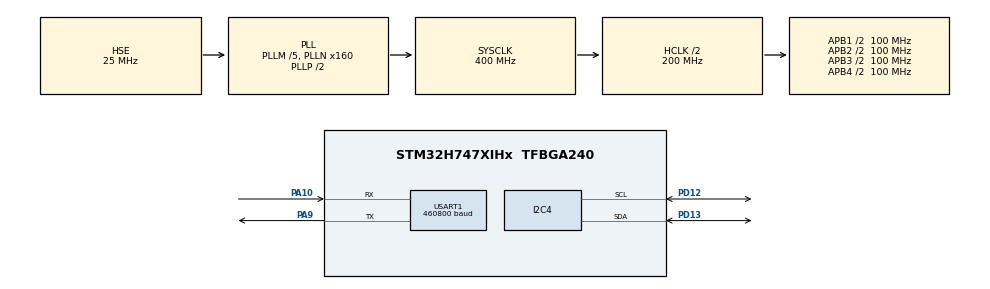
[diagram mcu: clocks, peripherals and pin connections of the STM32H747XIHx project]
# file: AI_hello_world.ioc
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CORTEX_M7.CPU_DCache=Enabled
CORTEX_M7.CPU_ICache=Enabled
CortexM4.IPs=BDMA,DMA,FATFS_M4\:I,FREERTOS_M4\:I,IWDG2\:I,MDMA,NVIC2\:I,RCC,USB_DEVICE_M4\:I,USB_HOST_M4\:I,WWDG2\:I,PDM2PCM_M4\:I,PWR,RESMGR_UTILITY,SYS_M4\:I,CORTEX_M4\:I,OPENAMP_M4\:I,VREFBUF,GPIO
CortexM7.IPs=BDMA\:I,DMA\:I,FATFS_M7\:I,FREERTOS_M7\:I,IWDG1\:I,MDMA\:I,NVIC1\:I,RCC\:I,USB_DEVICE_M7\:I,USB_HOST_M7\:I,WWDG1\:I,USART1\:I,CORTEX_M7\:I,PDM2PCM_M7\:I,PWR\:I,RESMGR_UTILITY\:I,SYS\:I,OPENAMP_M7\:I,VREFBUF\:I,GPIO\:I,MEMORYMAP\:I,I2C4\:I
I2C4.Timing=0x10C0ECFF
Mcu.Family=STM32H7
Mcu.Name=STM32H747XIHx
Mcu.Package=TFBGA240
NVIC1.PriorityGroup=NVIC_PRIORITYGROUP_4
NVIC1.USART1_IRQn=true\:0\:0\:false\:false\:true\:true\:true\:true
NVIC2.PriorityGroup=NVIC_PRIORITYGROUP_4
PA10.Mode=Asynchronous
PA10.PinAttribute=CortexM7
PA10.Signal=USART1_RX
PA9.Mode=Asynchronous
PA9.PinAttribute=CortexM7
PA9.Signal=USART1_TX
PC14-OSC32_IN\ (OSC32_IN).Mode=LSE-External-Oscillator
PC14-OSC32_IN\ (OSC32_IN).PinAttribute=Free
PC14-OSC32_IN\ (OSC32_IN).Signal=RCC_OSC32_IN
PC15-OSC32_OUT\ (OSC32_OUT).Mode=LSE-External-Oscillator
PC15-OSC32_OUT\ (OSC32_OUT).PinAttribute=Free
PC15-OSC32_OUT\ (OSC32_OUT).Signal=RCC_OSC32_OUT
PD12.Mode=I2C
PD12.PinAttribute=CortexM7
PD12.Signal=I2C4_SCL
PD13.Mode=I2C
PD13.PinAttribute=CortexM7
PD13.Signal=I2C4_SDA
PH0-OSC_IN\ (PH0).Mode=HSE-External-Oscillator
PH0-OSC_IN\ (PH0).PinAttribute=Free
PH0-OSC_IN\ (PH0).Signal=RCC_OSC_IN
PH1-OSC_OUT\ (PH1).Mode=HSE-External-Oscillator
PH1-OSC_OUT\ (PH1).PinAttribute=Free
PH1-OSC_OUT\ (PH1).Signal=RCC_OSC_OUT
ProjectManager.HeapSize=M4-0x800,M7-0x800
ProjectManager.StackSize=M4-0x800,M7-0x800
ProjectManager.TargetToolchain=STM32CubeIDE
RCC.ADCCLockSelection=RCC_ADCCLKSOURCE_PLL3
RCC.ADCFreq_Value=80000000
RCC.APB1Freq_Value=100000000
RCC.APB2Freq_Value=100000000
RCC.APB3Freq_Value=100000000
RCC.APB4Freq_Value=100000000
RCC.CortexFreq_Value=400000000
RCC.D1PPRE=RCC_APB3_DIV2
RCC.D2PPRE1=RCC_APB1_DIV2
RCC.D2PPRE2=RCC_APB2_DIV2
RCC.D3PPRE=RCC_APB4_DIV2
RCC.DIVM1=5
RCC.DIVM2=2
RCC.DIVM3=5
RCC.DIVN1=160
RCC.DIVN2=24
RCC.DIVN3=32
RCC.DIVQ1=4
RCC.HCLKFreq_Value=200000000
RCC.HPRE=RCC_HCLK_DIV2
RCC.PLLFRACN=0
RCC.PLLSourceVirtual=RCC_PLLSOURCE_HSE
RCC.PWR_Regulator_Voltage_Scale=PWR_REGULATOR_VOLTAGE_SCALE1
RCC.SAI1CLockSelection=RCC_SAI1CLKSOURCE_PLL2
RCC.SYSCLKFreq_VALUE=400000000
RCC.SYSCLKSource=RCC_SYSCLKSOURCE_PLLCLK
RCC.SupplySource=PWR_DIRECT_SMPS_SUPPLY
RCC.USBCLockSelection=RCC_USBCLKSOURCE_HSI48
RCC.USBFreq_Value=48000000
USART1.BaudRate=460800
USART1.VirtualMode-Asynchronous=VM_ASYNC
VP_MEMORYMAP_VS_MEMORYMAP.Mode=CurAppReg
VP_SYS_M4_VS_Systick.Mode=SysTick
board=STM32H747I-DISCO

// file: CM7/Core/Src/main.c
/* USER CODE BEGIN Header */
/**
  ******************************************************************************
  * @file           : main.c
  * @brief          : Main program body
  ******************************************************************************
  * @attention
  *
  * Copyright (c) 2026 STMicroelectronics.
  * All rights reserved.
  *
  * This software is licensed under terms that can be found in the LICENSE file
  * in the root directory of this software component.
  * If no LICENSE file comes with this software, it is provided AS-IS.
  *
  ******************************************************************************
  */
/* USER CODE END Header */
#include "main.h"
#include "i2c.h"
#include "memorymap.h"
#include "usart.h"
#include "gpio.h"

/* USER CODE BEGIN Includes */
#include <sys/stat.h>
#include <errno.h>
#include <stdio.h>
/* USER CODE END Includes */

/* USER CODE BEGIN PD */

#ifndef HSEM_ID_0
#define HSEM_ID_0 (0U) /* HW semaphore 0*/
#endif

/* USER CODE END PD */

void SystemClock_Config(void);

/* USER CODE BEGIN 0 */
#ifdef __cplusplus
extern "C" {
#endif

int _write(int file, char *ptr, int len)
{
  HAL_UART_Transmit(&huart1, (uint8_t *)ptr, len, HAL_MAX_DELAY);
  return len;
}
int _close(int file){ (void)file; return -1;}
int _fstat(int file, struct stat *st){  (void)file;  st->st_mode = S_IFCHR;  return 0;}
int _isatty(int file){  (void)file;  return 1;}
int _lseek(int file, int ptr, int dir){  (void)file;  (void)ptr;  (void)dir;  return 0;}
int _read(int file, char *ptr, int len){return 0;}
void _exit(int status){ (void)status; while(1){} }
int _kill(int pid, int sig){ (void)pid; (void)sig; return -1; }
int _getpid(void){ return 1; }

#ifdef __cplusplus
}
#endif
/* USER CODE END 0 */

int main(void)
{

/* USER CODE BEGIN Boot_Mode_Sequence_0 */
  int32_t timeout;
/* USER CODE END Boot_Mode_Sequence_0 */

  /* Enable the CPU Cache */

  /* Enable I-Cache---------------------------------------------------------*/
  SCB_EnableICache();

  /* Enable D-Cache---------------------------------------------------------*/
  SCB_EnableDCache();

/* USER CODE BEGIN Boot_Mode_Sequence_1 */
  /* Wait until CPU2 boots and enters in stop mode or timeout*/
  timeout = 0xFFFF;
  while((__HAL_RCC_GET_FLAG(RCC_FLAG_D2CKRDY) != RESET) && (timeout-- > 0));
  if ( timeout < 0 )
  {
  Error_Handler();
  }
/* USER CODE END Boot_Mode_Sequence_1 */
  /* MCU Configuration--------------------------------------------------------*/

  /* Reset of all peripherals, Initializes the Flash interface and the Systick. */
  HAL_Init();

  /* Configure the system clock */
  SystemClock_Config();
/* USER CODE BEGIN Boot_Mode_Sequence_2 */
/* When system initialization is finished, Cortex-M7 will release Cortex-M4 by means of
HSEM notification */
/*HW semaphore Clock enable*/
__HAL_RCC_HSEM_CLK_ENABLE();
/*Take HSEM */
HAL_HSEM_FastTake(HSEM_ID_0);
/*Release HSEM in order to notify the CPU2(CM4)*/
HAL_HSEM_Release(HSEM_ID_0,0);
/* wait until CPU2 wakes up from stop mode */
timeout = 0xFFFF;
while((__HAL_RCC_GET_FLAG(RCC_FLAG_D2CKRDY) == RESET) && (timeout-- > 0));
if ( timeout < 0 )
{
Error_Handler();
}
/* USER CODE END Boot_Mode_Sequence_2 */

  /* Initialize all configured peripherals */
  MX_GPIO_Init();
  MX_USART1_UART_Init();
  MX_I2C4_Init();
  /* USER CODE BEGIN 2 */
  extern void app_main(void);
  app_main(); //never returns
  /* USER CODE END 2 */

  /* Infinite loop */
  while (1)
  {

    /* USER CODE BEGIN 3 */
	  printf("oi\r\n");
	  HAL_Delay(1000);
  }
  /* USER CODE END 3 */
}

void SystemClock_Config(void)
{
  RCC_OscInitTypeDef RCC_OscInitStruct = {0};
  RCC_ClkInitTypeDef RCC_ClkInitStruct = {0};

  /** Supply configuration update enable
  */
  HAL_PWREx_ConfigSupply(PWR_DIRECT_SMPS_SUPPLY);

  /** Configure the main internal regulator output voltage
  */
  __HAL_PWR_VOLTAGESCALING_CONFIG(PWR_REGULATOR_VOLTAGE_SCALE1);

  while(!__HAL_PWR_GET_FLAG(PWR_FLAG_VOSRDY)) {}

  /** Initializes the RCC Oscillators according to the specified parameters
  * in the RCC_OscInitTypeDef structure.
  */
  RCC_OscInitStruct.OscillatorType = RCC_OSCILLATORTYPE_HSE;
  RCC_OscInitStruct.HSEState = RCC_HSE_ON;
  RCC_OscInitStruct.PLL.PLLState = RCC_PLL_ON;
  RCC_OscInitStruct.PLL.PLLSource = RCC_PLLSOURCE_HSE;
  RCC_OscInitStruct.PLL.PLLM = 5;
  RCC_OscInitStruct.PLL.PLLN = 160;
  RCC_OscInitStruct.PLL.PLLP = 2;
  RCC_OscInitStruct.PLL.PLLQ = 4;
  RCC_OscInitStruct.PLL.PLLR = 2;
  RCC_OscInitStruct.PLL.PLLRGE = RCC_PLL1VCIRANGE_2;
  RCC_OscInitStruct.PLL.PLLVCOSEL = RCC_PLL1VCOWIDE;
  RCC_OscInitStruct.PLL.PLLFRACN = 0;
  if (HAL_RCC_OscConfig(&RCC_OscInitStruct) != HAL_OK)
  {
    Error_Handler();
  }

  /** Initializes the CPU, AHB and APB buses clocks
  */
  RCC_ClkInitStruct.ClockType = RCC_CLOCKTYPE_HCLK|RCC_CLOCKTYPE_SYSCLK
                              |RCC_CLOCKTYPE_PCLK1|RCC_CLOCKTYPE_PCLK2
                              |RCC_CLOCKTYPE_D3PCLK1|RCC_CLOCKTYPE_D1PCLK1;
  RCC_ClkInitStruct.SYSCLKSource = RCC_SYSCLKSOURCE_PLLCLK;
  RCC_ClkInitStruct.SYSCLKDivider = RCC_SYSCLK_DIV1;
  RCC_ClkInitStruct.AHBCLKDivider = RCC_HCLK_DIV2;
  RCC_ClkInitStruct.APB3CLKDivider = RCC_APB3_DIV2;
  RCC_ClkInitStruct.APB1CLKDivider = RCC_APB1_DIV2;
  RCC_ClkInitStruct.APB2CLKDivider = RCC_APB2_DIV2;
  RCC_ClkInitStruct.APB4CLKDivider = RCC_APB4_DIV2;

  if (HAL_RCC_ClockConfig(&RCC_ClkInitStruct, FLASH_LATENCY_2) != HAL_OK)
  {
    Error_Handler();
  }
}

void Error_Handler(void)
{
  __disable_irq();
  while (1)
  {
  }
}
